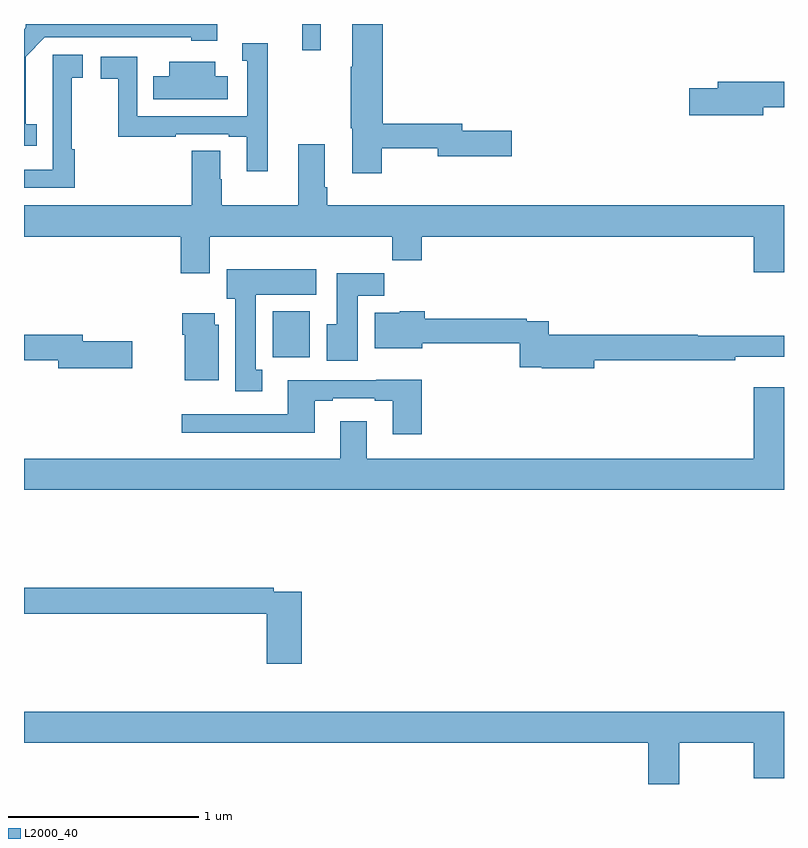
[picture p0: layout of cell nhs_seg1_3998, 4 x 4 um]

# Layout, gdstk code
import gdstk
lib = gdstk.Library(unit=1e-6, precision=1e-09)
def R(c, l, rs):  # rectangles x0, y0, x1, y1
    for r in rs: c.add(gdstk.rectangle(r[:2], r[2:], *l))
def P(c, l, *ps):  # polygons
    for p in ps: c.add(gdstk.Polygon(p, *l))
L2000_40 = (2000, 40)

nhs_seg1_3998 = lib.new_cell('nhs_seg1_3998')
R(nhs_seg1_3998, L2000_40, [(330.308,536.444,330.505,536.686), (330.465,538.062,330.562,538.199)])
P(nhs_seg1_3998, L2000_40, [(330.882,537.546),(331.178,537.546),(331.178,537.503),(331.567,537.503),(331.567,537.638),(331.306,537.638),(331.306,537.674),(330.887,537.674),(330.887,538.199),(330.728,538.199),(330.728,537.974),(330.721,537.974),(330.721,537.651),(330.728,537.651),(330.728,537.414),(330.882,537.414)],
  [(329.066,537.671),(329.008,537.671),(329.008,538.027),(329.109,538.128),(329.88,538.128),(329.88,538.112),(330.016,538.112),(330.016,538.199),(329.01,538.199),(329.01,538.181),(329,538.171),(329,537.558),(329.066,537.558)],
  [(330.283,538.099),(330.149,538.099),(330.149,538.005),(330.174,538.005),(330.174,537.714),(329.595,537.714),(329.595,538.026),(329.403,538.026),(329.403,537.91),(329.497,537.91),(329.497,537.606),(329.798,537.606),(329.798,537.618),(330.077,537.618),(330.077,537.606),(330.173,537.606),(330.173,537.423),(330.283,537.423)],
  [(329.267,537.539),(329.25,537.539),(329.25,537.915),(329.308,537.915),(329.308,538.036),(329.15,538.036),(329.15,537.76),(329.151,537.76),(329.151,537.432),(329,537.432),(329,537.336),(329.267,537.336)],
  [(330.073,537.925),(330.007,537.925),(330.007,538),(329.765,538),(329.765,537.925),(329.68,537.925),(329.68,537.803),(330.073,537.803)],
  [(332.89,537.76),(333,537.76),(333,537.896),(332.651,537.896),(332.651,537.86),(332.502,537.86),(332.502,537.718),(332.89,537.718)],
  [(329.977,537.08),(330.937,537.08),(330.937,536.956),(331.094,536.956),(331.094,537.08),(332.84,537.08),(332.84,536.892),(333,536.892),(333,537.244),(330.596,537.244),(330.596,537.34),(330.583,537.34),(330.583,537.565),(330.443,537.565),(330.443,537.244),(330.042,537.244),(330.042,537.383),(330.034,537.383),(330.034,537.533),(329.882,537.533),(329.882,537.244),(329,537.244),(329,537.08),(329.825,537.08),(329.825,536.886),(329.977,536.886)],
  [(330.253,536.378),(330.22,536.378),(330.22,536.774),(330.538,536.774),(330.538,536.908),(330.068,536.908),(330.068,536.754),(330.113,536.754),(330.113,536.265),(330.253,536.265)],
  [(330.757,536.768),(330.896,536.768),(330.896,536.887),(330.647,536.887),(330.647,536.62),(330.593,536.62),(330.593,536.427),(330.757,536.427)],
  [(332.002,536.428),(332.744,536.428),(332.744,536.447),(333,536.447),(333,536.557),(332.546,536.557),(332.546,536.564),(331.763,536.564),(331.763,536.634),(331.646,536.634),(331.646,536.647),(331.109,536.647),(331.109,536.686),(330.978,536.686),(330.978,536.68),(330.845,536.68),(330.845,536.492),(331.096,536.492),(331.096,536.518),(331.61,536.518),(331.61,536.393),(331.726,536.393),(331.726,536.386),(332.002,536.386)],
  [(330.025,536.616),(330.004,536.616),(330.004,536.677),(329.834,536.677),(329.834,536.564),(329.846,536.564),(329.846,536.324),(330.025,536.324)],
  [(329.569,536.528),(329.308,536.528),(329.308,536.564),(329,536.564),(329,536.428),(329.18,536.428),(329.18,536.386),(329.569,536.386)],
  [(331.094,536.326),(330.853,536.326),(330.853,536.325),(330.389,536.325),(330.389,536.145),(329.829,536.145),(329.829,536.048),(330.529,536.048),(330.529,536.217),(330.625,536.217),(330.625,536.229),(330.845,536.229),(330.845,536.217),(330.941,536.217),(330.941,536.04),(331.094,536.04)],
  [(333,536.287),(332.84,536.287),(332.84,535.912),(330.805,535.912),(330.805,536.107),(330.665,536.107),(330.665,535.912),(329,535.912),(329,535.748),(333,535.748)],
  [(330.461,535.212),(330.314,535.212),(330.314,535.232),(329,535.232),(329,535.096),(330.278,535.096),(330.278,534.831),(330.461,534.831)],
  [(332.449,534.416),(332.84,534.416),(332.84,534.228),(333,534.228),(333,534.58),(329,534.58),(329,534.416),(332.285,534.416),(332.285,534.199),(332.449,534.199)])

lib.write_gds('nhs_seg1_3998.gds')
